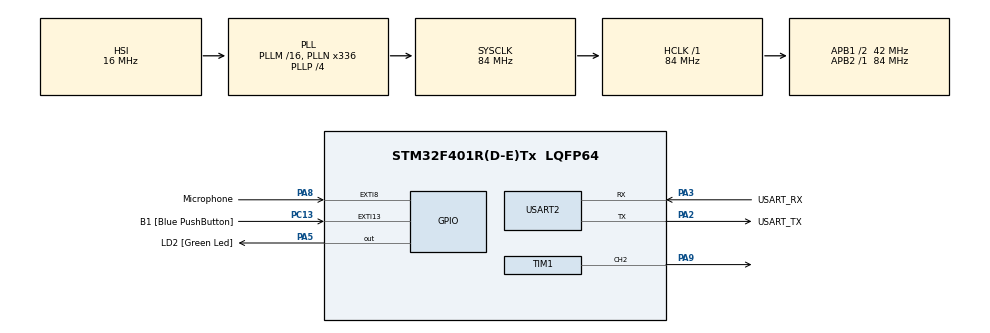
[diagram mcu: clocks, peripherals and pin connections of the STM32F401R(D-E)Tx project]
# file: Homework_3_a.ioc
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Mcu.Family=STM32F4
Mcu.Name=STM32F401R(D-E)Tx
Mcu.Package=LQFP64
NVIC.EXTI9_5_IRQn=true\:0\:0\:false\:false\:true\:true\:true\:true
NVIC.PriorityGroup=NVIC_PRIORITYGROUP_0
PA13.GPIO_Label=TMS
PA13.Mode=Serial_Wire
PA13.Signal=SYS_JTMS-SWDIO
PA14.GPIO_Label=TCK
PA14.Mode=Serial_Wire
PA14.Signal=SYS_JTCK-SWCLK
PA2.GPIO_Label=USART_TX
PA2.GPIO_Mode=GPIO_MODE_AF_PP
PA2.GPIO_PuPd=GPIO_NOPULL
PA2.GPIO_Speed=GPIO_SPEED_FREQ_LOW
PA2.Mode=Asynchronous
PA2.Signal=USART2_TX
PA3.GPIO_Label=USART_RX
PA3.GPIO_Mode=GPIO_MODE_AF_PP
PA3.GPIO_PuPd=GPIO_NOPULL
PA3.GPIO_Speed=GPIO_SPEED_FREQ_LOW
PA3.Mode=Asynchronous
PA3.Signal=USART2_RX
PA5.GPIO_Label=LD2 [Green Led]
PA5.GPIO_Mode=GPIO_MODE_OUTPUT_PP
PA5.GPIO_PuPd=GPIO_NOPULL
PA5.GPIO_Speed=GPIO_SPEED_FREQ_LOW
PA5.Signal=GPIO_Output
PA8.GPIO_Label=Microphone
PA8.Signal=GPXTI8
PA9.Signal=S_TIM1_CH2
PB3.GPIO_Label=SWO
PB3.Signal=SYS_JTDO-SWO
PC13-ANTI_TAMP.GPIO_Label=B1 [Blue PushButton]
PC13-ANTI_TAMP.GPIO_ModeDefaultEXTI=GPIO_MODE_IT_FALLING
PC13-ANTI_TAMP.GPIO_PuPd=GPIO_NOPULL
PC13-ANTI_TAMP.Signal=GPXTI13
PC14-OSC32_IN.Mode=LSE-External-Oscillator
PC14-OSC32_IN.Signal=RCC_OSC32_IN
PC15-OSC32_OUT.Mode=LSE-External-Oscillator
PC15-OSC32_OUT.Signal=RCC_OSC32_OUT
PH0\ -\ OSC_IN.Mode=HSE-External-Clock-Source
PH0\ -\ OSC_IN.Signal=RCC_OSC_IN
PH1\ -\ OSC_OUT.Mode=HSE-External-Clock-Source
PH1\ -\ OSC_OUT.Signal=RCC_OSC_OUT
ProjectManager.HeapSize=0x200
ProjectManager.StackSize=0x400
ProjectManager.TargetToolchain=STM32CubeIDE
RCC.48MHZClocksFreq_Value=48000000
RCC.AHBFreq_Value=84000000
RCC.APB1CLKDivider=RCC_HCLK_DIV2
RCC.APB1Freq_Value=42000000
RCC.APB1TimFreq_Value=84000000
RCC.APB2Freq_Value=84000000
RCC.APB2TimFreq_Value=84000000
RCC.CortexFreq_Value=84000000
RCC.HCLKFreq_Value=84000000
RCC.HSE_VALUE=8000000
RCC.HSI_VALUE=16000000
RCC.PLLN=336
RCC.PLLP=RCC_PLLP_DIV4
RCC.PLLQ=7
RCC.SYSCLKFreq_VALUE=84000000
RCC.SYSCLKSource=RCC_SYSCLKSOURCE_PLLCLK
RCC.VCOOutputFreq_Value=336000000
SH.S_TIM1_CH2.0=TIM1_CH2,PWM Generation2 CH2
TIM1.Channel-PWM\ Generation2\ CH2=TIM_CHANNEL_2
TIM1.Period=1908
TIM1.Prescaler=99
TIM1.Pulse-PWM\ Generation2\ CH2=594
USART2.VirtualMode=VM_ASYNC
VP_TIM1_VS_ClockSourceINT.Mode=Internal
board=NUCLEO-F401RE

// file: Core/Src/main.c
/* USER CODE BEGIN Header */
/**
  ******************************************************************************
  * @file           : main.c
  * @brief          : Main program body
  ******************************************************************************
  * @attention
  *
  * Copyright (c) 2024 STMicroelectronics.
  * All rights reserved.
  *
  * This software is licensed under terms that can be found in the LICENSE file
  * in the root directory of this software component.
  * If no LICENSE file comes with this software, it is provided AS-IS.
  *
  ******************************************************************************
  */
/* USER CODE END Header */
#include "main.h"

/* USER CODE BEGIN PTD */

struct note
{
	int tone;
	int duration;
};

/* USER CODE END PTD */

/* USER CODE BEGIN PD */

#define DO4		3205
#define DOD4	3031
#define RE4		2856
#define RED4 	2699
#define MI4		2544
#define FA4		2405
#define FAD4	2269
#define SOL4 	2141
#define SOLD4	2141
#define LA4 	1908
#define LAD4	1801
#define SI4		1699

#define TEMPO	75

/* USER CODE END PD */

TIM_HandleTypeDef htim1;

UART_HandleTypeDef huart2;

/* USER CODE BEGIN PV */

/** London Bridge Partition **/
struct note partition [] =
{
		{SOL4, 6},
		{LA4, 2},
		{SOL4, 4},
		{FA4, 4},
		{MI4, 4},
		{FA4, 4},
		{SOL4, 8},
		{RE4, 4},
		{MI4, 4},
		{FA4, 8},
		{MI4, 4},
		{FA4, 4},
		{SOL4, 8},
		{SOL4, 6},
		{LA4, 2},
		{SOL4, 4},
		{FA4, 4},
		{MI4, 4},
		{FA4, 4},
		{SOL4, 8},
		{RE4, 8},
		{SOL4, 8},
		{MI4, 4},
		{DO4, 12},
};

/* USER CODE END PV */

void SystemClock_Config(void);
static void MX_GPIO_Init(void);
static void MX_USART2_UART_Init(void);
static void MX_TIM1_Init(void);

/* USER CODE BEGIN 0 */

/**
 * Copied from MX_TIM1_INIT and modified
 *
 * @note_playing	The note played from the partition
 **/
void PlayNote(struct note note_playing)
{
  TIM_ClockConfigTypeDef sClockSourceConfig = {0};
  TIM_MasterConfigTypeDef sMasterConfig = {0};
  TIM_OC_InitTypeDef sConfigOC = {0};

  htim1.Instance = TIM1;
  htim1.Init.Prescaler = 99;
  htim1.Init.CounterMode = TIM_COUNTERMODE_UP;
  htim1.Init.Period = note_playing.tone;
  htim1.Init.ClockDivision = TIM_CLOCKDIVISION_DIV1;
  htim1.Init.RepetitionCounter = 0;
  htim1.Init.AutoReloadPreload = TIM_AUTORELOAD_PRELOAD_DISABLE;
  if (HAL_TIM_Base_Init(&htim1) != HAL_OK)
  {
    Error_Handler();
  }
  sClockSourceConfig.ClockSource = TIM_CLOCKSOURCE_INTERNAL;
  if (HAL_TIM_ConfigClockSource(&htim1, &sClockSourceConfig) != HAL_OK)
  {
    Error_Handler();
  }
  if (HAL_TIM_PWM_Init(&htim1) != HAL_OK)
  {
    Error_Handler();
  }
  sMasterConfig.MasterOutputTrigger = TIM_TRGO_RESET;
  sMasterConfig.MasterSlaveMode = TIM_MASTERSLAVEMODE_DISABLE;
  if (HAL_TIMEx_MasterConfigSynchronization(&htim1, &sMasterConfig) != HAL_OK)
  {
    Error_Handler();
  }
  sConfigOC.OCMode = TIM_OCMODE_PWM1;
  sConfigOC.Pulse = note_playing.tone / 2;
  sConfigOC.OCPolarity = TIM_OCPOLARITY_HIGH;
  sConfigOC.OCNPolarity = TIM_OCNPOLARITY_HIGH;
  sConfigOC.OCFastMode = TIM_OCFAST_DISABLE;
  sConfigOC.OCIdleState = TIM_OCIDLESTATE_RESET;
  sConfigOC.OCNIdleState = TIM_OCNIDLESTATE_RESET;
  if (HAL_TIM_PWM_ConfigChannel(&htim1, &sConfigOC, TIM_CHANNEL_2) != HAL_OK)
  {
    Error_Handler();
  }

  HAL_TIM_PWM_Start(&htim1, TIM_CHANNEL_2);
  HAL_Delay(note_playing.duration * TEMPO);
  HAL_TIM_PWM_Stop(&htim1, TIM_CHANNEL_2);
}

/** Play the music **/
void PlayMusic()
{
	int length = sizeof(partition) / sizeof(partition[0]); //Get the number of notes in the partition

	for (int i = 0; i < length; i++)
	{
		PlayNote(partition[i]); 	//For each notes
	}
}

int currently_playing = 0;

/** Interruption for the microphone **/
void HAL_GPIO_EXTI_Callback(uint16_t GPIO_Pin)
{
	switch(GPIO_Pin)
	{
		case GPIO_PIN_8:
			currently_playing = 1;
			break;

		default:
			break;
	}
}

/* USER CODE END 0 */

int main(void)
{

  /* MCU Configuration--------------------------------------------------------*/

  /* Reset of all peripherals, Initializes the Flash interface and the Systick. */
  HAL_Init();

  /* Configure the system clock */
  SystemClock_Config();

  /* Initialize all configured peripherals */
  MX_GPIO_Init();
  MX_USART2_UART_Init();
  MX_TIM1_Init();

  /* Infinite loop */
  /* USER CODE BEGIN WHILE */
  while (1)
  {
	  if (currently_playing) 			/** If it isn't playing **/
		{
			PlayMusic();				/** Start the music **/
			currently_playing = 0; 		/** Unblock the condition **/
		}
    /* USER CODE END WHILE */
  }
}

void SystemClock_Config(void)
{
  RCC_OscInitTypeDef RCC_OscInitStruct = {0};
  RCC_ClkInitTypeDef RCC_ClkInitStruct = {0};

  /** Configure the main internal regulator output voltage
  */
  __HAL_RCC_PWR_CLK_ENABLE();
  __HAL_PWR_VOLTAGESCALING_CONFIG(PWR_REGULATOR_VOLTAGE_SCALE2);

  /** Initializes the RCC Oscillators according to the specified parameters
  * in the RCC_OscInitTypeDef structure.
  */
  RCC_OscInitStruct.OscillatorType = RCC_OSCILLATORTYPE_HSI;
  RCC_OscInitStruct.HSIState = RCC_HSI_ON;
  RCC_OscInitStruct.HSICalibrationValue = RCC_HSICALIBRATION_DEFAULT;
  RCC_OscInitStruct.PLL.PLLState = RCC_PLL_ON;
  RCC_OscInitStruct.PLL.PLLSource = RCC_PLLSOURCE_HSI;
  RCC_OscInitStruct.PLL.PLLM = 16;
  RCC_OscInitStruct.PLL.PLLN = 336;
  RCC_OscInitStruct.PLL.PLLP = RCC_PLLP_DIV4;
  RCC_OscInitStruct.PLL.PLLQ = 7;
  if (HAL_RCC_OscConfig(&RCC_OscInitStruct) != HAL_OK)
  {
    Error_Handler();
  }

  /** Initializes the CPU, AHB and APB buses clocks
  */
  RCC_ClkInitStruct.ClockType = RCC_CLOCKTYPE_HCLK|RCC_CLOCKTYPE_SYSCLK
                              |RCC_CLOCKTYPE_PCLK1|RCC_CLOCKTYPE_PCLK2;
  RCC_ClkInitStruct.SYSCLKSource = RCC_SYSCLKSOURCE_PLLCLK;
  RCC_ClkInitStruct.AHBCLKDivider = RCC_SYSCLK_DIV1;
  RCC_ClkInitStruct.APB1CLKDivider = RCC_HCLK_DIV2;
  RCC_ClkInitStruct.APB2CLKDivider = RCC_HCLK_DIV1;

  if (HAL_RCC_ClockConfig(&RCC_ClkInitStruct, FLASH_LATENCY_2) != HAL_OK)
  {
    Error_Handler();
  }
}

static void MX_TIM1_Init(void)
{

  TIM_ClockConfigTypeDef sClockSourceConfig = {0};
  TIM_MasterConfigTypeDef sMasterConfig = {0};
  TIM_OC_InitTypeDef sConfigOC = {0};
  TIM_BreakDeadTimeConfigTypeDef sBreakDeadTimeConfig = {0};

  htim1.Instance = TIM1;
  htim1.Init.Prescaler = 99;
  htim1.Init.CounterMode = TIM_COUNTERMODE_UP;
  htim1.Init.Period = 1908;
  htim1.Init.ClockDivision = TIM_CLOCKDIVISION_DIV1;
  htim1.Init.RepetitionCounter = 0;
  htim1.Init.AutoReloadPreload = TIM_AUTORELOAD_PRELOAD_DISABLE;
  if (HAL_TIM_Base_Init(&htim1) != HAL_OK)
  {
    Error_Handler();
  }
  sClockSourceConfig.ClockSource = TIM_CLOCKSOURCE_INTERNAL;
  if (HAL_TIM_ConfigClockSource(&htim1, &sClockSourceConfig) != HAL_OK)
  {
    Error_Handler();
  }
  if (HAL_TIM_PWM_Init(&htim1) != HAL_OK)
  {
    Error_Handler();
  }
  sMasterConfig.MasterOutputTrigger = TIM_TRGO_RESET;
  sMasterConfig.MasterSlaveMode = TIM_MASTERSLAVEMODE_DISABLE;
  if (HAL_TIMEx_MasterConfigSynchronization(&htim1, &sMasterConfig) != HAL_OK)
  {
    Error_Handler();
  }
  sConfigOC.OCMode = TIM_OCMODE_PWM1;
  sConfigOC.Pulse = 594;
  sConfigOC.OCPolarity = TIM_OCPOLARITY_HIGH;
  sConfigOC.OCNPolarity = TIM_OCNPOLARITY_HIGH;
  sConfigOC.OCFastMode = TIM_OCFAST_DISABLE;
  sConfigOC.OCIdleState = TIM_OCIDLESTATE_RESET;
  sConfigOC.OCNIdleState = TIM_OCNIDLESTATE_RESET;
  if (HAL_TIM_PWM_ConfigChannel(&htim1, &sConfigOC, TIM_CHANNEL_2) != HAL_OK)
  {
    Error_Handler();
  }
  sBreakDeadTimeConfig.OffStateRunMode = TIM_OSSR_DISABLE;
  sBreakDeadTimeConfig.OffStateIDLEMode = TIM_OSSI_DISABLE;
  sBreakDeadTimeConfig.LockLevel = TIM_LOCKLEVEL_OFF;
  sBreakDeadTimeConfig.DeadTime = 0;
  sBreakDeadTimeConfig.BreakState = TIM_BREAK_DISABLE;
  sBreakDeadTimeConfig.BreakPolarity = TIM_BREAKPOLARITY_HIGH;
  sBreakDeadTimeConfig.AutomaticOutput = TIM_AUTOMATICOUTPUT_DISABLE;
  if (HAL_TIMEx_ConfigBreakDeadTime(&htim1, &sBreakDeadTimeConfig) != HAL_OK)
  {
    Error_Handler();
  }
  HAL_TIM_MspPostInit(&htim1);

}

static void MX_USART2_UART_Init(void)
{

  huart2.Instance = USART2;
  huart2.Init.BaudRate = 115200;
  huart2.Init.WordLength = UART_WORDLENGTH_8B;
  huart2.Init.StopBits = UART_STOPBITS_1;
  huart2.Init.Parity = UART_PARITY_NONE;
  huart2.Init.Mode = UART_MODE_TX_RX;
  huart2.Init.HwFlowCtl = UART_HWCONTROL_NONE;
  huart2.Init.OverSampling = UART_OVERSAMPLING_16;
  if (HAL_UART_Init(&huart2) != HAL_OK)
  {
    Error_Handler();
  }

}

static void MX_GPIO_Init(void)
{
  GPIO_InitTypeDef GPIO_InitStruct = {0};

  /* GPIO Ports Clock Enable */
  __HAL_RCC_GPIOC_CLK_ENABLE();
  __HAL_RCC_GPIOH_CLK_ENABLE();
  __HAL_RCC_GPIOA_CLK_ENABLE();
  __HAL_RCC_GPIOB_CLK_ENABLE();

  /*Configure GPIO pin Output Level */
  HAL_GPIO_WritePin(LD2_GPIO_Port, LD2_Pin, GPIO_PIN_RESET);

  /*Configure GPIO pin : B1_Pin */
  GPIO_InitStruct.Pin = B1_Pin;
  GPIO_InitStruct.Mode = GPIO_MODE_IT_FALLING;
  GPIO_InitStruct.Pull = GPIO_NOPULL;
  HAL_GPIO_Init(B1_GPIO_Port, &GPIO_InitStruct);

  /*Configure GPIO pin : LD2_Pin */
  GPIO_InitStruct.Pin = LD2_Pin;
  GPIO_InitStruct.Mode = GPIO_MODE_OUTPUT_PP;
  GPIO_InitStruct.Pull = GPIO_NOPULL;
  GPIO_InitStruct.Speed = GPIO_SPEED_FREQ_LOW;
  HAL_GPIO_Init(LD2_GPIO_Port, &GPIO_InitStruct);

  /*Configure GPIO pin : Microphone_Pin */
  GPIO_InitStruct.Pin = Microphone_Pin;
  GPIO_InitStruct.Mode = GPIO_MODE_IT_RISING;
  GPIO_InitStruct.Pull = GPIO_NOPULL;
  HAL_GPIO_Init(Microphone_GPIO_Port, &GPIO_InitStruct);

  /* EXTI interrupt init*/
  HAL_NVIC_SetPriority(EXTI9_5_IRQn, 0, 0);
  HAL_NVIC_EnableIRQ(EXTI9_5_IRQn);

}

void Error_Handler(void)
{
  __disable_irq();
  while (1)
  {
  }
}
